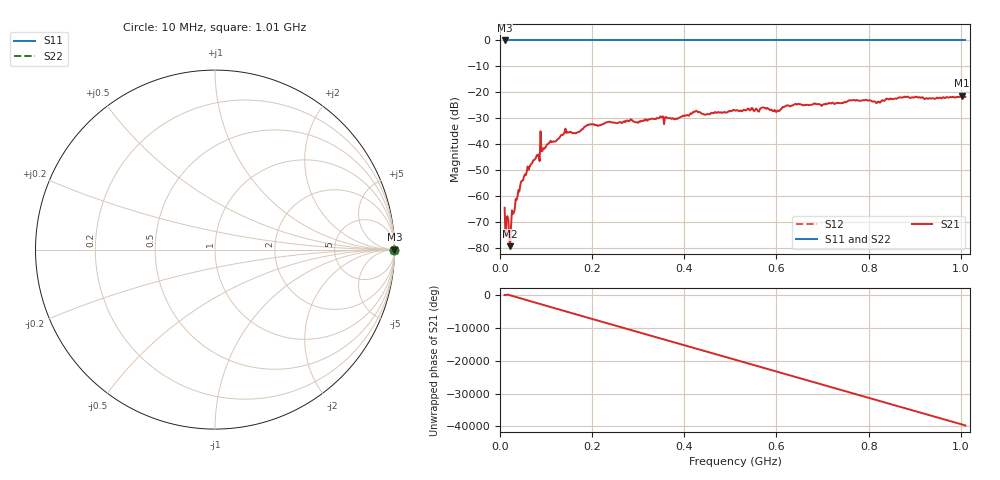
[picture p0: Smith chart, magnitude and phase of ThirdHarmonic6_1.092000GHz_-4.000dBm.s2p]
! 8/16/2025 10:09:40 AM
! C:\ANRITSUVNA\TEMP\TEMP.S2P
! CHANNEL.1
! TR.MEASUREMENT
! RAW.DATA
! RF.CORRECTION.OFF
! AVERAGING.OFF
! IF.BANDWIDTH: 5KHZ
! SWEEPTYPE:  FREQ.SWEEP(Linear)
! Reference Plane Port Info
! PORT:  PORT1  PORT2
! DISTANCE:  0  m  0  m
! TIME:  0  s  0  s
! PHASE.OFFSET:  0  deg.  0  deg.
! LOSS:  0  dB  0  dB
! REF.LOSS:  0  dB  0  dB
! REF.FREQ:  0  Hz  0  Hz
! Power Info
! POWER:  -20  dBm  -20  dBm
! EFF.POWER:  -20  dBm  -20  dBm
! SOURCE.ATTEN:  0  dB  0  dB
! TEST.ATTEN:  0  dB  0  dB
# GHZ S RI R 50.0
! FREQ.GHZ  S11RE  S11IM  S21RE  S21IM  S12RE  S12IM  S22RE  S22IM
!; PortSelection: Port_12
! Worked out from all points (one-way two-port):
!   501 points, 10 MHz to 1.01 GHz, reference 50 ohm
!   highest |S21| = -21.31 dB at 1.002 GHz (marker M1); lowest = -79.2 dB at 22 MHz (marker M2)
!   lowest |S11| = 0.0 dB at 10 MHz (marker M3)
!   |S11| at or under -10 dB: nowhere
!   |S22| runs from 0.0 to 0.0 dB; largest |S21 - S12| = 1.1
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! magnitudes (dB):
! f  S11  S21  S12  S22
! 10 MHz  0.0  -64.4  0.0  0.0
! 16 MHz  0.0  -67.6  0.0  0.0
! 22 MHz  0.0  -79.2  0.0  0.0
! 24 MHz  0.0  -71.3  0.0  0.0
! 30 MHz  0.0  -66.3  0.0  0.0
! 48 MHz  0.0  -54.0  0.0  0.0
! 82 MHz  0.0  -44.5  0.0  0.0
! 84 MHz  0.0  -43.9  0.0  0.0
! 92 MHz  0.0  -42.5  0.0  0.0
! 94 MHz  0.0  -41.4  0.0  0.0
! 142 MHz  0.0  -33.9  0.0  0.0
! 178 MHz  0.0  -34.1  0.0  0.0
! 196 MHz  0.0  -32.2  0.0  0.0
! 344 MHz  0.0  -30.0  0.0  0.0
! 510 MHz  0.0  -27.0  0.0  0.0
! 572 MHz  0.0  -25.8  0.0  0.0
! 602 MHz  0.0  -27.1  0.0  0.0
! 622 MHz  0.0  -25.0  0.0  0.0
! 678 MHz  0.0  -24.7  0.0  0.0
! 844 MHz  0.0  -22.7  0.0  0.0
! 1.002 GHz  0.0  -21.3  0.0  0.0
! 1.01 GHz  0.0  -21.7  0.0  0.0
